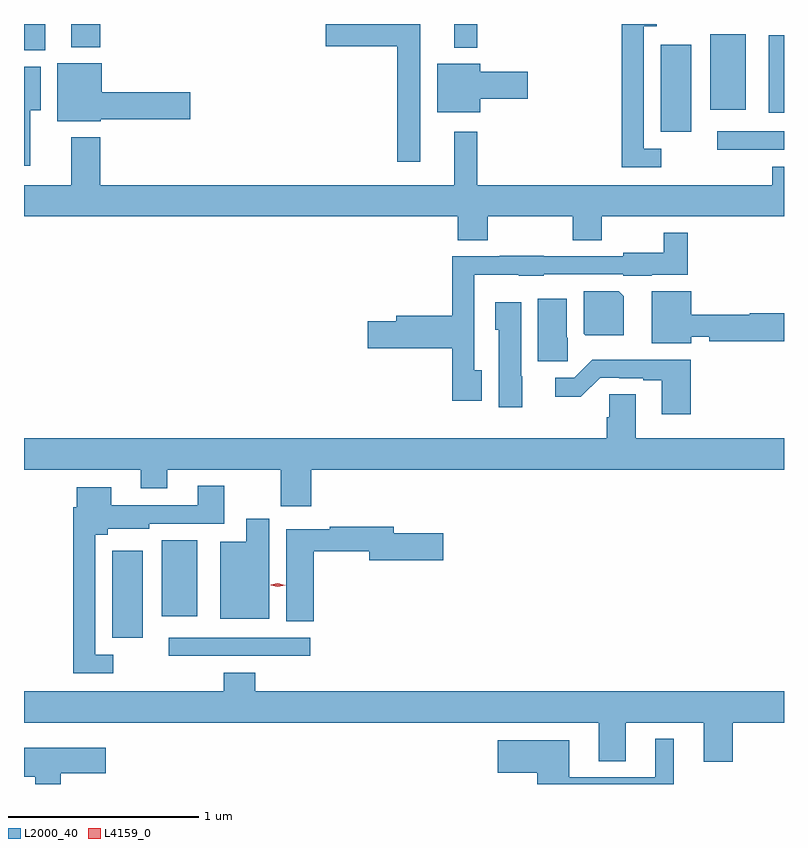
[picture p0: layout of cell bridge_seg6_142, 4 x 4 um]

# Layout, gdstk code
import gdstk
lib = gdstk.Library(unit=1e-6, precision=1e-09)
def R(c, l, rs):  # rectangles x0, y0, x1, y1
    for r in rs: c.add(gdstk.rectangle(r[:2], r[2:], *l))
def P(c, l, *ps):  # polygons
    for p in ps: c.add(gdstk.Polygon(p, *l))
L2000_40 = (2000, 40)
L4159_0 = (4159, 0)

bridge_seg6_142 = lib.new_cell('bridge_seg6_142')
R(bridge_seg6_142, L2000_40, [(610.509,963.672,611.254,963.768), (610.211,963.767,610.372,964.225), (610.472,963.881,610.66,964.279), (613.395,966.336,613.747,966.432), (613.097,966.431,613.258,966.889), (613.667,966.53,613.747,966.937), (613.358,966.545,613.546,966.943), (609.747,966.86,609.859,966.997), (612.011,966.872,612.133,966.997), (609.995,966.875,610.148,966.997)])
P(bridge_seg6_142, L2000_40, [(613.102,966.34),(613.008,966.34),(613.008,966.986),(613.078,966.986),(613.078,966.997),(612.892,966.997),(612.892,966.243),(613.102,966.243)],
  [(611.833,966.997),(611.334,966.997),(611.334,966.881),(611.712,966.881),(611.712,966.273),(611.833,966.273)],
  [(610.152,966.496),(610.621,966.496),(610.621,966.638),(610.156,966.638),(610.156,966.79),(609.923,966.79),(609.923,966.485),(610.152,966.485)],
  [(612.148,966.604),(612.397,966.604),(612.397,966.746),(612.148,966.746),(612.148,966.787),(611.921,966.787),(611.921,966.533),(612.148,966.533)],
  [(609.781,966.542),(609.835,966.542),(609.835,966.772),(609.747,966.772),(609.747,966.252),(609.781,966.252)],
  [(612.189,965.984),(612.634,965.984),(612.634,965.86),(612.789,965.86),(612.789,965.984),(613.747,965.984),(613.747,966.247),(613.685,966.247),(613.685,966.148),(612.133,966.148),(612.133,966.43),(612.011,966.43),(612.011,966.148),(610.148,966.148),(610.148,966.4),(609.995,966.4),(609.995,966.148),(609.747,966.148),(609.747,965.984),(612.029,965.984),(612.029,965.86),(612.189,965.86)],
  [(612.157,965.174),(612.117,965.174),(612.117,965.678),(612.351,965.678),(612.351,965.672),(612.483,965.672),(612.483,965.679),(612.9,965.679),(612.9,965.672),(613.05,965.672),(613.05,965.678),(613.241,965.678),(613.241,965.899),(613.113,965.899),(613.113,965.794),(612.9,965.794),(612.9,965.775),(612.483,965.775),(612.483,965.777),(612.251,965.777),(612.251,965.775),(612.001,965.775),(612.001,965.462),(611.705,965.462),(611.705,965.432),(611.556,965.432),(611.556,965.29),(612.001,965.29),(612.001,965.013),(612.157,965.013)],
  [(613.258,965.352),(613.354,965.352),(613.354,965.327),(613.747,965.327),(613.747,965.474),(613.566,965.474),(613.566,965.468),(613.258,965.468),(613.258,965.59),(613.052,965.59),(613.052,965.318),(613.258,965.318)],
  [(612.904,965.564),(612.878,965.59),(612.692,965.59),(612.692,965.368),(612.7,965.36),(612.904,965.36)],
  [(612.608,965.346),(612.604,965.346),(612.604,965.551),(612.452,965.551),(612.452,965.223),(612.608,965.223)],
  [(612.37,965.142),(612.364,965.142),(612.364,965.533),(612.227,965.533),(612.227,965.388),(612.245,965.388),(612.245,964.98),(612.37,964.98)],
  [(613.256,965.231),(612.737,965.231),(612.642,965.136),(612.543,965.136),(612.543,965.034),(612.678,965.034),(612.78,965.136),(612.88,965.136),(612.88,965.133),(613.007,965.133),(613.007,965.121),(613.103,965.121),(613.103,964.944),(613.256,964.944)],
  [(609.747,964.652),(610.361,964.652),(610.361,964.553),(610.501,964.553),(610.501,964.652),(611.098,964.652),(611.098,964.458),(611.258,964.458),(611.258,964.652),(613.747,964.652),(613.747,964.816),(612.967,964.816),(612.967,965.048),(612.828,965.048),(612.828,964.926),(612.815,964.926),(612.815,964.816),(609.747,964.816)],
  [(610.216,963.676),(610.122,963.676),(610.122,964.31),(610.188,964.31),(610.188,964.34),(610.407,964.34),(610.407,964.368),(610.801,964.368),(610.801,964.567),(610.661,964.567),(610.661,964.464),(610.207,964.464),(610.207,964.558),(610.025,964.558),(610.025,964.454),(610.006,964.454),(610.006,963.579),(610.216,963.579)],
  [(611.038,964.393),(610.916,964.393),(610.916,964.273),(610.781,964.273),(610.781,963.866),(611.038,963.866)],
  [(611.273,964.222),(611.564,964.222),(611.564,964.175),(611.953,964.175),(611.953,964.317),(611.692,964.317),(611.692,964.351),(611.356,964.351),(611.356,964.338),(611.126,964.338),(611.126,963.853),(611.273,963.853)],
  [(613.478,963.32),(613.747,963.32),(613.747,963.484),(610.964,963.484),(610.964,963.583),(610.799,963.583),(610.799,963.484),(609.747,963.484),(609.747,963.32),(612.773,963.32),(612.773,963.118),(612.913,963.118),(612.913,963.32),(613.325,963.32),(613.325,963.114),(613.478,963.114)],
  [(613.168,963.235),(613.07,963.235),(613.07,963.033),(612.616,963.033),(612.616,963.226),(612.24,963.226),(612.24,963.056),(612.448,963.056),(612.448,962.997),(613.168,962.997)],
  [(609.941,963.053),(610.177,963.053),(610.177,963.187),(609.747,963.187),(609.747,963.035),(609.806,963.035),(609.806,962.997),(609.941,962.997)])
P(bridge_seg6_142, L4159_0, [(611.083,964.034),(611.045,964.044),(611.045,964.044),(611.045,964.045),(611.083,964.054),(611.121,964.044),(611.121,964.044),(611.121,964.044)])

lib.write_gds('bridge_seg6_142.gds')
